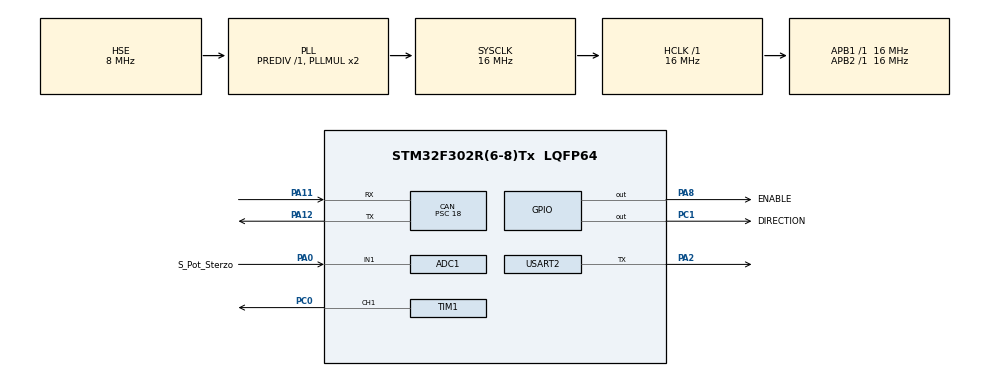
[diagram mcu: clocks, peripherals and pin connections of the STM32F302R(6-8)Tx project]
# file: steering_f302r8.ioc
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ADC1.Channel-0\#ChannelRegularConversion=ADC_CHANNEL_1
ADC1.ContinuousConvMode=ENABLE
ADC1.DMAContinuousRequests=ENABLE
ADC1.NbrOfConversionFlag=1
ADC1.Offset-0\#ChannelRegularConversion=0
ADC1.OffsetNumber-0\#ChannelRegularConversion=ADC_OFFSET_NONE
ADC1.Rank-0\#ChannelRegularConversion=1
ADC1.Resolution=ADC_RESOLUTION_10B
ADC1.SamplingTime-0\#ChannelRegularConversion=ADC_SAMPLETIME_181CYCLES_5
ADC1.SamplingTimeOPAMP-0\#ChannelRegularConversion=ADC_SAMPLETIME_61CYCLES_5
ADC1.SubFamily=STM32F302x8
ADC1.master=1
CAN.BS1=CAN_BS1_2TQ
CAN.CalculateBaudRate=222222
CAN.CalculateTimeBit=4500
CAN.CalculateTimeQuantum=1125.0
CAN.Mode=CAN_MODE_NORMAL
CAN.NART=DISABLE
CAN.Prescaler=18
Dma.ADC1.0.Direction=DMA_PERIPH_TO_MEMORY
Dma.ADC1.0.Instance=DMA1_Channel1
Dma.ADC1.0.MemDataAlignment=DMA_MDATAALIGN_WORD
Dma.ADC1.0.MemInc=DMA_MINC_ENABLE
Dma.ADC1.0.Mode=DMA_CIRCULAR
Dma.ADC1.0.PeriphDataAlignment=DMA_PDATAALIGN_WORD
Dma.ADC1.0.PeriphInc=DMA_PINC_DISABLE
Dma.ADC1.0.Priority=DMA_PRIORITY_LOW
Dma.Request0=ADC1
Mcu.Family=STM32F3
Mcu.Name=STM32F302R(6-8)Tx
Mcu.Package=LQFP64
NVIC.DMA1_Channel1_IRQn=true\:0\:0\:false\:false\:true\:false\:true\:true
NVIC.PriorityGroup=NVIC_PRIORITYGROUP_4
NVIC.TIM2_IRQn=true\:0\:0\:false\:false\:true\:true\:true\:true
PA0.GPIO_Label=S_Pot_Sterzo
PA0.Mode=IN1-Single-Ended
PA0.Signal=ADC1_IN1
PA11.Mode=CAN_Activate
PA11.Signal=CAN_RX
PA12.Mode=CAN_Activate
PA12.Signal=CAN_TX
PA13.Mode=Serial_Wire
PA13.Signal=SYS_JTMS-SWDIO
PA14.Mode=Serial_Wire
PA14.Signal=SYS_JTCK-SWCLK
PA2.Mode=Half_duplex(single_wire_mode)
PA2.Signal=USART2_TX
PA8.GPIO_Label=ENABLE
PA8.Signal=GPIO_Output
PC0.Signal=S_TIM1_CH1
PC1.GPIO_Label=DIRECTION
PC1.Signal=GPIO_Output
PF0-OSC_IN.Mode=HSE-External-Oscillator
PF0-OSC_IN.Signal=RCC_OSC_IN
PF1-OSC_OUT.Mode=HSE-External-Oscillator
PF1-OSC_OUT.Signal=RCC_OSC_OUT
ProjectManager.HeapSize=0x200
ProjectManager.StackSize=0x400
ProjectManager.TargetToolchain=STM32CubeIDE
RCC.ADC12PRES=RCC_ADC1PLLCLK_DIV8
RCC.AHBFreq_Value=16000000
RCC.APB1Freq_Value=16000000
RCC.APB1TimFreq_Value=16000000
RCC.APB2Freq_Value=16000000
RCC.APB2TimFreq_Value=16000000
RCC.CortexFreq_Value=16000000
RCC.HCLKFreq_Value=16000000
RCC.HSE_VALUE=8000000
RCC.HSI_VALUE=8000000
RCC.LSE_VALUE=32768
RCC.PLLSourceVirtual=RCC_PLLSOURCE_HSE
RCC.SYSCLKFreq_VALUE=16000000
RCC.SYSCLKSourceVirtual=RCC_SYSCLKSOURCE_PLLCLK
RCC.USBFreq_Value=16000000
SH.S_TIM1_CH1.0=TIM1_CH1,PWM Generation1 CH1
TIM1.Channel-PWM\ Generation1\ CH1=TIM_CHANNEL_1
TIM1.Period=100-1
TIM1.Prescaler=2000-1
TIM15.Prescaler=2000-1
TIM2.Period=100-1
TIM2.Prescaler=2000-1
USART2.Mode=MODE_TX
USART2.VirtualMode-Half_duplex(single_wire_mode)=VM_ASYNC
VP_TIM15_VS_ClockSourceINT.Mode=Internal
VP_TIM1_VS_ClockSourceINT.Mode=Internal
VP_TIM2_VS_ClockSourceINT.Mode=Internal
board=custom

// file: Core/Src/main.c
/* USER CODE BEGIN Header */
/**
  ******************************************************************************
  * @file           : main.c
  * @brief          : Main program body
  ******************************************************************************
  * @attention
  *
  * <h2><center>&copy; Copyright (c) 2021 STMicroelectronics.
  * All rights reserved.</center></h2>
  *
  * This softare component is licensed by ST under BSD 3-Clause license,
  * the "License"; You may not use this file except in compliance with the
  * License. You may obtain a copy of the License at:
  *                        opensource.org/licenses/BSD-3-Clause
  *
  ******************************************************************************
  */
/* USER CODE END Header */
#include "main.h"

/* USER CODE BEGIN Includes */
#include "mmr_can.h"
#include "mmr_can_header.h"
#include "mmr_can_util.h"
#include "mmr_can_scs.h"

#include <math.h>
#include <stdbool.h>
#include <stdio.h>

/* USER CODE END Includes */

/* USER CODE BEGIN PD */

#define ADC_SIZE 40
#define LEFT_X 0.0f
#define LEFT_Y 500.0f
#define RIGHT_X 20.0f
#define RIGHT_Y 200.0f

const float PROPORTIONAL_SLOPE = (LEFT_Y-RIGHT_Y)/(LEFT_X-RIGHT_X);
const float MAX_STEERING_ANGLE = 100.0f;
const float ADC_MAX_VALUE = 1024.0f;
const float ADC_MAX_VOLTAGE = 3.6f;
const float DEGREES_PER_VOLT = 20.0f;
const float VOLTAGE_RATIO = 3.3f/5.0f;
const float TOLERANCE = 5.0f; // [deg]
/* USER CODE END PD */

ADC_HandleTypeDef hadc1;
DMA_HandleTypeDef hdma_adc1;

CAN_HandleTypeDef hcan;

TIM_HandleTypeDef htim1;
TIM_HandleTypeDef htim2;
TIM_HandleTypeDef htim15;

UART_HandleTypeDef huart2;

/* USER CODE BEGIN PV */
volatile float degrees;

float target_angle=90;
float speed; // [m/s]

float current_angle=0;
float tension;
float angular_step=360.0f/1600.0f;
float angular_error=0;
uint16_t prescaler=100-1;
uint32_t ADC1_Value[ADC_SIZE];
/* USER CODE END PV */

void SystemClock_Config(void);
static void MX_GPIO_Init(void);
static void MX_CAN_Init(void);
static void MX_DMA_Init(void);
static void MX_ADC1_Init(void);
static void MX_TIM2_Init(void);
static void MX_TIM1_Init(void);
static void MX_TIM15_Init(void);
static void MX_USART2_UART_Init(void);
/* USER CODE BEGIN PFP */

static void steer(
  GPIO_PinState directionPinExpected,
  GPIO_PinState directionPinWrite
) {
  if (HAL_GPIO_ReadPin(DIRECTION_GPIO_Port, DIRECTION_Pin) == directionPinExpected){
    HAL_GPIO_WritePin(DIRECTION_GPIO_Port, DIRECTION_Pin, directionPinWrite);
  }

  TIM1->CCR1 = 50;
}

static void steerRight() {
  steer(GPIO_PIN_SET, GPIO_PIN_RESET);
}

static void steerLeft() {
  steer(GPIO_PIN_RESET, GPIO_PIN_SET);
}

#define allHigh(bitvect) ((bitvect) == ~0u)
#define allLow(bitvect) ((bitvect) == 0)

#define matchMask(bitvect, mask) \
  (((sampleCount) & (mask)) == (mask))

uint32_t Proportional(float error){
	float absolute_error=fabsf(error);
	if(absolute_error<LEFT_X){
		return LEFT_Y;
	} else if(absolute_error>RIGHT_X){
		return RIGHT_Y;
	} else{
		return (PROPORTIONAL_SLOPE*absolute_error)+LEFT_Y+(PROPORTIONAL_SLOPE*LEFT_X);
	}
//	if(fabsf(error)>20) return 99;
//	return -20.0f*fabsf(error)+500.0f;
}

void HAL_TIM_PeriodElapsedCallback(TIM_HandleTypeDef *htim)
{
//  static float lastTension = 0;
//  static uint8_t samples = 0;
//  static uint8_t counter = 0;

//  target_angle = sin(counter * .01f) * 45 - 45;
//  counter++;

  // Check which version of the timer triggered this callback
  if (htim == &htim2)
  {
//    TIM1->PSC = prescaler; // We control the speed of the motor

    float adcValue = ADC1_Value[0];
    if (adcValue <= 0 || adcValue >= 4095)
      return;

    tension=0;
    for (int i = 0; i<ADC_SIZE;i++){
    	tension+=ADC1_Value[i];
    }
    tension/=ADC_SIZE;
    tension = ((adcValue / ADC_MAX_VALUE) * ADC_MAX_VOLTAGE)/(VOLTAGE_RATIO) - 2.45f - 0.12f;
//    float tAbs = fabs(fabs(lastTension) - fabs(tension));

//    samples <<= 1;
//    samples |= tAbs > .001f; // 0 if it doesn't cross the threshold
//
//    if (samples != 0xFF) // 8bit without changes -> do nothing
//      return;

//    lastTension = tension;

    current_angle = tension * DEGREES_PER_VOLT * 4.0f;
    angular_error = -(target_angle - current_angle); // We calculate the error compared to the target

    /*if (current_angle > 15.0f) {
      TIM1->CCR1 = 0;
      return;
    }*/

    if (angular_error > TOLERANCE) {
      steerRight();
      TIM1->PSC = Proportional(angular_error);
    }
    else if (angular_error < -TOLERANCE) {
      steerLeft();
      TIM1->PSC = Proportional(angular_error);
    }
    else {
      TIM1->CCR1 = 0;
    }
  }
}
/* USER CODE END PFP */

int main(void)
{

  /* MCU Configuration--------------------------------------------------------*/

  /* Reset of all peripherals, Initializes the Flash interface and the Systick. */
  HAL_Init();

  /* Configure the system clock */
  SystemClock_Config();

  /* Initialize all configured peripherals */
  MX_GPIO_Init();
  MX_CAN_Init();
  MX_DMA_Init();
  MX_ADC1_Init();
  MX_TIM2_Init();
  MX_TIM1_Init();
  MX_TIM15_Init();
  MX_USART2_UART_Init();
  /* USER CODE BEGIN 2 */
  MMR_CAN_SetTickProvider(HAL_GetTick);

  HAL_ADC_Start_DMA(&hadc1, (uint32_t*)ADC1_Value, ADC_SIZE);
  HAL_TIM_Base_Start_IT(&htim2);
  HAL_TIM_PWM_Start(&htim1, TIM_CHANNEL_1);
  /* USER CODE BEGIN 2 */

  /* USER CODE END 2 */

  /* Infinite loop */
  /* USER CODE BEGIN WHILE */
  /****/
  CanRxBuffer buffer = {};
  MmrCanMessage message = {
    .store = buffer,
  };

  char txbuff[32] = {};

  HAL_GPIO_WritePin(ENABLE_GPIO_Port, ENABLE_Pin, GPIO_PIN_SET);
  while (1) {
    uint32_t pendingMessages =
      HAL_CAN_GetRxFifoFillLevel(&hcan, MMR_CAN_RX_FIFO);

    if (pendingMessages > 0) {
      if (MMR_CAN_Receive(&hcan, &message) != HAL_OK) {
        Error_Handler();
      }

      switch (message.header.messageId) {
      case MMR_CAN_MESSAGE_ID_D_STEERING_ANGLE:
        target_angle = (*(float*)buffer) * 6.5625f; // riduttore sterzo = 6.5625
        break;

      case MMR_CAN_MESSAGE_ID_D_SPEED_ODOMETRY:
    	speed = (*(float*)buffer);
    	break;
      }
    }
    if(target_angle>MAX_STEERING_ANGLE){
    	target_angle=MAX_STEERING_ANGLE;
    } else if(target_angle<-MAX_STEERING_ANGLE){
    	target_angle=-MAX_STEERING_ANGLE;
    }
    sprintf(txbuff, "%f.5, %f.5\n\r", target_angle, current_angle);
    HAL_UART_Transmit(&huart2, (uint8_t*)txbuff, strlen(txbuff), HAL_MAX_DELAY);

    /* USER CODE END WHILE */

  }
}

void SystemClock_Config(void)
{
  RCC_OscInitTypeDef RCC_OscInitStruct = {0};
  RCC_ClkInitTypeDef RCC_ClkInitStruct = {0};
  RCC_PeriphCLKInitTypeDef PeriphClkInit = {0};

  /** Initializes the RCC Oscillators according to the specified parameters
  * in the RCC_OscInitTypeDef structure.
  */
  RCC_OscInitStruct.OscillatorType = RCC_OSCILLATORTYPE_HSE;
  RCC_OscInitStruct.HSEState = RCC_HSE_ON;
  RCC_OscInitStruct.HSEPredivValue = RCC_HSE_PREDIV_DIV1;
  RCC_OscInitStruct.HSIState = RCC_HSI_ON;
  RCC_OscInitStruct.PLL.PLLState = RCC_PLL_ON;
  RCC_OscInitStruct.PLL.PLLSource = RCC_PLLSOURCE_HSE;
  RCC_OscInitStruct.PLL.PLLMUL = RCC_PLL_MUL2;
  if (HAL_RCC_OscConfig(&RCC_OscInitStruct) != HAL_OK)
  {
    Error_Handler();
  }

  /** Initializes the CPU, AHB and APB buses clocks
  */
  RCC_ClkInitStruct.ClockType = RCC_CLOCKTYPE_HCLK|RCC_CLOCKTYPE_SYSCLK
                              |RCC_CLOCKTYPE_PCLK1|RCC_CLOCKTYPE_PCLK2;
  RCC_ClkInitStruct.SYSCLKSource = RCC_SYSCLKSOURCE_PLLCLK;
  RCC_ClkInitStruct.AHBCLKDivider = RCC_SYSCLK_DIV1;
  RCC_ClkInitStruct.APB1CLKDivider = RCC_HCLK_DIV1;
  RCC_ClkInitStruct.APB2CLKDivider = RCC_HCLK_DIV1;

  if (HAL_RCC_ClockConfig(&RCC_ClkInitStruct, FLASH_LATENCY_0) != HAL_OK)
  {
    Error_Handler();
  }
  PeriphClkInit.PeriphClockSelection = RCC_PERIPHCLK_TIM1|RCC_PERIPHCLK_TIM15
                              |RCC_PERIPHCLK_ADC1;
  PeriphClkInit.Tim1ClockSelection = RCC_TIM1CLK_HCLK;
  PeriphClkInit.Tim15ClockSelection = RCC_TIM15CLK_HCLK;
  PeriphClkInit.Adc1ClockSelection = RCC_ADC1PLLCLK_DIV8;

  if (HAL_RCCEx_PeriphCLKConfig(&PeriphClkInit) != HAL_OK)
  {
    Error_Handler();
  }
}

static void MX_ADC1_Init(void)
{

  ADC_ChannelConfTypeDef sConfig = {0};

  /** Common config
  */
  hadc1.Instance = ADC1;
  hadc1.Init.ClockPrescaler = ADC_CLOCK_ASYNC_DIV1;
  hadc1.Init.Resolution = ADC_RESOLUTION_10B;
  hadc1.Init.ScanConvMode = ADC_SCAN_DISABLE;
  hadc1.Init.ContinuousConvMode = ENABLE;
  hadc1.Init.DiscontinuousConvMode = DISABLE;
  hadc1.Init.ExternalTrigConvEdge = ADC_EXTERNALTRIGCONVEDGE_NONE;
  hadc1.Init.ExternalTrigConv = ADC_SOFTWARE_START;
  hadc1.Init.DataAlign = ADC_DATAALIGN_RIGHT;
  hadc1.Init.NbrOfConversion = 1;
  hadc1.Init.DMAContinuousRequests = ENABLE;
  hadc1.Init.EOCSelection = ADC_EOC_SINGLE_CONV;
  hadc1.Init.LowPowerAutoWait = DISABLE;
  hadc1.Init.Overrun = ADC_OVR_DATA_OVERWRITTEN;
  if (HAL_ADC_Init(&hadc1) != HAL_OK)
  {
    Error_Handler();
  }

  /** Configure Regular Channel
  */
  sConfig.Channel = ADC_CHANNEL_1;
  sConfig.Rank = ADC_REGULAR_RANK_1;
  sConfig.SingleDiff = ADC_SINGLE_ENDED;
  sConfig.SamplingTime = ADC_SAMPLETIME_181CYCLES_5;
  sConfig.OffsetNumber = ADC_OFFSET_NONE;
  sConfig.Offset = 0;
  if (HAL_ADC_ConfigChannel(&hadc1, &sConfig) != HAL_OK)
  {
    Error_Handler();
  }

}

static void MX_CAN_Init(void)
{

  hcan.Instance = CAN;
  hcan.Init.Prescaler = 18;
  hcan.Init.Mode = CAN_MODE_NORMAL;
  hcan.Init.SyncJumpWidth = CAN_SJW_1TQ;
  hcan.Init.TimeSeg1 = CAN_BS1_2TQ;
  hcan.Init.TimeSeg2 = CAN_BS2_1TQ;
  hcan.Init.TimeTriggeredMode = DISABLE;
  hcan.Init.AutoBusOff = DISABLE;
  hcan.Init.AutoWakeUp = DISABLE;
  hcan.Init.AutoRetransmission = DISABLE;
  hcan.Init.ReceiveFifoLocked = DISABLE;
  hcan.Init.TransmitFifoPriority = DISABLE;
  if (HAL_CAN_Init(&hcan) != HAL_OK)
  {
    Error_Handler();
  }
  /* USER CODE BEGIN CAN_Init 2 */
  if (MMR_CAN_BasicSetupAndStart(&hcan) != HAL_OK) {
    Error_Handler();
  }
  /* USER CODE END CAN_Init 2 */

}

static void MX_TIM1_Init(void)
{

  TIM_ClockConfigTypeDef sClockSourceConfig = {0};
  TIM_MasterConfigTypeDef sMasterConfig = {0};
  TIM_OC_InitTypeDef sConfigOC = {0};
  TIM_BreakDeadTimeConfigTypeDef sBreakDeadTimeConfig = {0};

  htim1.Instance = TIM1;
  htim1.Init.Prescaler = 2000-1;
  htim1.Init.CounterMode = TIM_COUNTERMODE_UP;
  htim1.Init.Period = 100-1;
  htim1.Init.ClockDivision = TIM_CLOCKDIVISION_DIV1;
  htim1.Init.RepetitionCounter = 0;
  htim1.Init.AutoReloadPreload = TIM_AUTORELOAD_PRELOAD_DISABLE;
  if (HAL_TIM_Base_Init(&htim1) != HAL_OK)
  {
    Error_Handler();
  }
  sClockSourceConfig.ClockSource = TIM_CLOCKSOURCE_INTERNAL;
  if (HAL_TIM_ConfigClockSource(&htim1, &sClockSourceConfig) != HAL_OK)
  {
    Error_Handler();
  }
  if (HAL_TIM_PWM_Init(&htim1) != HAL_OK)
  {
    Error_Handler();
  }
  sMasterConfig.MasterOutputTrigger = TIM_TRGO_RESET;
  sMasterConfig.MasterOutputTrigger2 = TIM_TRGO2_RESET;
  sMasterConfig.MasterSlaveMode = TIM_MASTERSLAVEMODE_DISABLE;
  if (HAL_TIMEx_MasterConfigSynchronization(&htim1, &sMasterConfig) != HAL_OK)
  {
    Error_Handler();
  }
  sConfigOC.OCMode = TIM_OCMODE_PWM1;
  sConfigOC.Pulse = 0;
  sConfigOC.OCPolarity = TIM_OCPOLARITY_HIGH;
  sConfigOC.OCNPolarity = TIM_OCNPOLARITY_HIGH;
  sConfigOC.OCFastMode = TIM_OCFAST_DISABLE;
  sConfigOC.OCIdleState = TIM_OCIDLESTATE_RESET;
  sConfigOC.OCNIdleState = TIM_OCNIDLESTATE_RESET;
  if (HAL_TIM_PWM_ConfigChannel(&htim1, &sConfigOC, TIM_CHANNEL_1) != HAL_OK)
  {
    Error_Handler();
  }
  sBreakDeadTimeConfig.OffStateRunMode = TIM_OSSR_DISABLE;
  sBreakDeadTimeConfig.OffStateIDLEMode = TIM_OSSI_DISABLE;
  sBreakDeadTimeConfig.LockLevel = TIM_LOCKLEVEL_OFF;
  sBreakDeadTimeConfig.DeadTime = 0;
  sBreakDeadTimeConfig.BreakState = TIM_BREAK_DISABLE;
  sBreakDeadTimeConfig.BreakPolarity = TIM_BREAKPOLARITY_HIGH;
  sBreakDeadTimeConfig.BreakFilter = 0;
  sBreakDeadTimeConfig.Break2State = TIM_BREAK2_DISABLE;
  sBreakDeadTimeConfig.Break2Polarity = TIM_BREAK2POLARITY_HIGH;
  sBreakDeadTimeConfig.Break2Filter = 0;
  sBreakDeadTimeConfig.AutomaticOutput = TIM_AUTOMATICOUTPUT_DISABLE;
  if (HAL_TIMEx_ConfigBreakDeadTime(&htim1, &sBreakDeadTimeConfig) != HAL_OK)
  {
    Error_Handler();
  }
  HAL_TIM_MspPostInit(&htim1);

}

static void MX_TIM2_Init(void)
{

  TIM_ClockConfigTypeDef sClockSourceConfig = {0};
  TIM_MasterConfigTypeDef sMasterConfig = {0};

  htim2.Instance = TIM2;
  htim2.Init.Prescaler = 2000-1;
  htim2.Init.CounterMode = TIM_COUNTERMODE_UP;
  htim2.Init.Period = 100-1;
  htim2.Init.ClockDivision = TIM_CLOCKDIVISION_DIV1;
  htim2.Init.AutoReloadPreload = TIM_AUTORELOAD_PRELOAD_DISABLE;
  if (HAL_TIM_Base_Init(&htim2) != HAL_OK)
  {
    Error_Handler();
  }
  sClockSourceConfig.ClockSource = TIM_CLOCKSOURCE_INTERNAL;
  if (HAL_TIM_ConfigClockSource(&htim2, &sClockSourceConfig) != HAL_OK)
  {
    Error_Handler();
  }
  sMasterConfig.MasterOutputTrigger = TIM_TRGO_RESET;
  sMasterConfig.MasterSlaveMode = TIM_MASTERSLAVEMODE_DISABLE;
  if (HAL_TIMEx_MasterConfigSynchronization(&htim2, &sMasterConfig) != HAL_OK)
  {
    Error_Handler();
  }

}

static void MX_TIM15_Init(void)
{

  TIM_ClockConfigTypeDef sClockSourceConfig = {0};
  TIM_MasterConfigTypeDef sMasterConfig = {0};

  htim15.Instance = TIM15;
  htim15.Init.Prescaler = 2000-1;
  htim15.Init.CounterMode = TIM_COUNTERMODE_UP;
  htim15.Init.Period = 65535;
  htim15.Init.ClockDivision = TIM_CLOCKDIVISION_DIV1;
  htim15.Init.RepetitionCounter = 0;
  htim15.Init.AutoReloadPreload = TIM_AUTORELOAD_PRELOAD_DISABLE;
  if (HAL_TIM_Base_Init(&htim15) != HAL_OK)
  {
    Error_Handler();
  }
  sClockSourceConfig.ClockSource = TIM_CLOCKSOURCE_INTERNAL;
  if (HAL_TIM_ConfigClockSource(&htim15, &sClockSourceConfig) != HAL_OK)
  {
    Error_Handler();
  }
  sMasterConfig.MasterOutputTrigger = TIM_TRGO_RESET;
  sMasterConfig.MasterSlaveMode = TIM_MASTERSLAVEMODE_DISABLE;
  if (HAL_TIMEx_MasterConfigSynchronization(&htim15, &sMasterConfig) != HAL_OK)
  {
    Error_Handler();
  }

}

static void MX_USART2_UART_Init(void)
{

  huart2.Instance = USART2;
  huart2.Init.BaudRate = 38400;
  huart2.Init.WordLength = UART_WORDLENGTH_8B;
  huart2.Init.StopBits = UART_STOPBITS_1;
  huart2.Init.Parity = UART_PARITY_NONE;
  huart2.Init.Mode = UART_MODE_TX;
  huart2.Init.HwFlowCtl = UART_HWCONTROL_NONE;
  huart2.Init.OverSampling = UART_OVERSAMPLING_16;
  huart2.Init.OneBitSampling = UART_ONE_BIT_SAMPLE_DISABLE;
  huart2.AdvancedInit.AdvFeatureInit = UART_ADVFEATURE_NO_INIT;
  if (HAL_HalfDuplex_Init(&huart2) != HAL_OK)
  {
    Error_Handler();
  }

}

static void MX_DMA_Init(void)
{

  /* DMA controller clock enable */
  __HAL_RCC_DMA1_CLK_ENABLE();

  /* DMA interrupt init */
  /* DMA1_Channel1_IRQn interrupt configuration */
  HAL_NVIC_SetPriority(DMA1_Channel1_IRQn, 0, 0);
  HAL_NVIC_EnableIRQ(DMA1_Channel1_IRQn);

}

static void MX_GPIO_Init(void)
{
  GPIO_InitTypeDef GPIO_InitStruct = {0};

  /* GPIO Ports Clock Enable */
  __HAL_RCC_GPIOF_CLK_ENABLE();
  __HAL_RCC_GPIOC_CLK_ENABLE();
  __HAL_RCC_GPIOA_CLK_ENABLE();

  /*Configure GPIO pin Output Level */
  HAL_GPIO_WritePin(DIRECTION_GPIO_Port, DIRECTION_Pin, GPIO_PIN_RESET);

  /*Configure GPIO pin Output Level */
  HAL_GPIO_WritePin(ENABLE_GPIO_Port, ENABLE_Pin, GPIO_PIN_RESET);

  /*Configure GPIO pin : DIRECTION_Pin */
  GPIO_InitStruct.Pin = DIRECTION_Pin;
  GPIO_InitStruct.Mode = GPIO_MODE_OUTPUT_PP;
  GPIO_InitStruct.Pull = GPIO_NOPULL;
  GPIO_InitStruct.Speed = GPIO_SPEED_FREQ_LOW;
  HAL_GPIO_Init(DIRECTION_GPIO_Port, &GPIO_InitStruct);

  /*Configure GPIO pin : ENABLE_Pin */
  GPIO_InitStruct.Pin = ENABLE_Pin;
  GPIO_InitStruct.Mode = GPIO_MODE_OUTPUT_PP;
  GPIO_InitStruct.Pull = GPIO_NOPULL;
  GPIO_InitStruct.Speed = GPIO_SPEED_FREQ_LOW;
  HAL_GPIO_Init(ENABLE_GPIO_Port, &GPIO_InitStruct);

}

void Error_Handler(void)
{
  __disable_irq();
  while (1)
  {
  }
}
